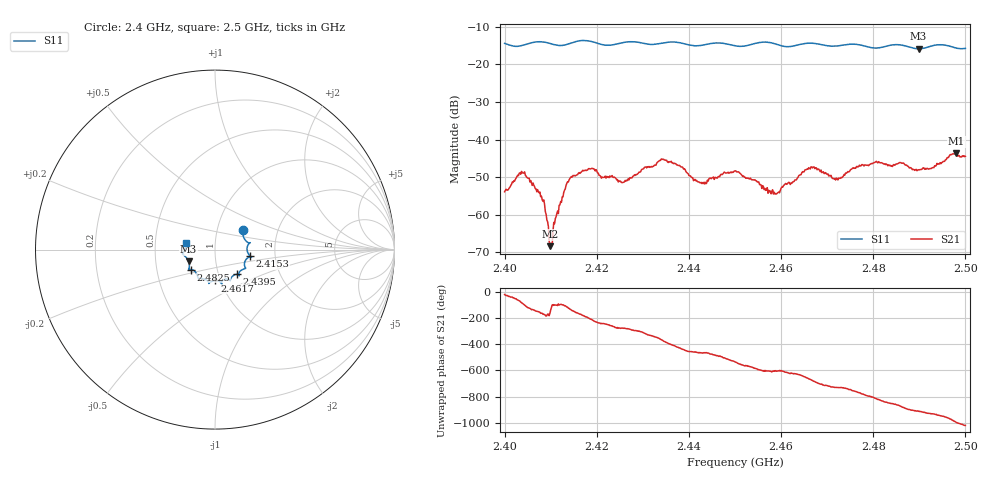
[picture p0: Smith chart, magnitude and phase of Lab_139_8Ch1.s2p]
# Hz S RI R 50
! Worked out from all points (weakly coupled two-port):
!   601 points, 2.4 GHz to 2.5 GHz, reference 50 ohm
!   highest |S21| = -43.71 dB at 2.498 GHz (marker M1); lowest = -68.4 dB at 2.4098 GHz (marker M2)
!   lowest |S11| = -15.9 dB at 2.4898 GHz (marker M3), VSWR 1.38, Z = 36.9 - j4.92 ohm
!   |S11| at or under -10 dB: start of sweep to end of sweep
!   S12 and S22 are empty: the file has one direction only
!   S11 on the Smith chart (normalised r, x): 2.4 GHz: 1.33, +0.30; 2.4153 GHz: 1.48, -0.11; 2.4395 GHz: 1.22, -0.35; 2.4617 GHz: 0.94, -0.33; 2.4825 GHz: 0.75, -0.17; 2.5 GHz: 0.72, +0.05
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2.4e9  0.1563 0.1089  0.00188 -0.000738  0 0  0 0
2.403333e9  0.1667 0.0555  0.00109 -0.00344  0 0  0 0
2.404833e9  0.1818 0.0403  -0.00138 -0.00283  0 0  0 0
2.408167e9  0.1957 0.0385  -0.00151 -0.000418  0 0  0 0
2.409833e9  0.1873 0.0313  -0.000367 -0.000103  0 0  0 0
2.413333e9  0.1823 -0.0159  -0.000881 -0.00228  0 0  0 0
2.415333e9  0.1967 -0.0371  -0.00299 -0.00137  0 0  0 0
2.416667e9  0.2035 -0.0415  -0.0037 -0.000319  0 0  0 0
2.425833e9  0.1685 -0.1004  0.000433 0.00267  0 0  0 0
2.433333e9  0.1329 -0.1331  0.00504 0.000648  0 0  0 0
2.4395e9  0.1228 -0.1379  -5.13e-05 -0.00364  0 0  0 0
2.443333e9  0.0894 -0.159  -0.000658 -0.00248  0 0  0 0
2.45e9  0.0665 -0.1643  -0.00382 -0.000307  0 0  0 0
2.458833e9  0.0333 -0.1836  -0.000889 0.00169  0 0  0 0
2.461667e9  0.000576 -0.1721  -0.000432 0.00266  0 0  0 0
2.466667e9  -0.034 -0.1885  0.00308 0.00302  0 0  0 0
2.471833e9  -0.0655 -0.1625  0.00285 -0.000487  0 0  0 0
2.4825e9  -0.1321 -0.1111  -0.0025 -0.00405  0 0  0 0
2.483333e9  -0.1395 -0.1103  -0.00288 -0.00359  0 0  0 0
2.489833e9  -0.1474 -0.065  -0.00386 0.000909  0 0  0 0
2.498e9  -0.1651 0.00167  0.000775 0.00648  0 0  0 0
2.5e9  -0.1597 0.0348  0.00306 0.00513  0 0  0 0
